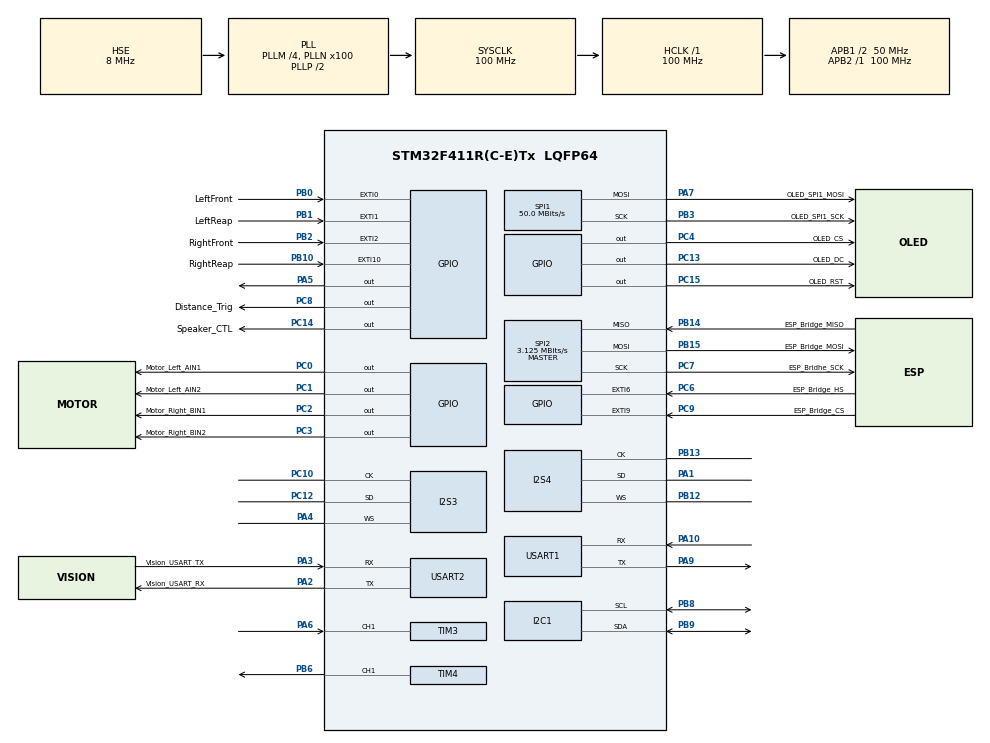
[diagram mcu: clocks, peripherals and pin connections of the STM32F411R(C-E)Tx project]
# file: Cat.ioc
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Dma.Request0=SPI2_RX
Dma.Request1=SPI4_TX
Dma.Request2=SPI3_RX
Dma.SPI2_RX.0.Direction=DMA_PERIPH_TO_MEMORY
Dma.SPI2_RX.0.FIFOMode=DMA_FIFOMODE_DISABLE
Dma.SPI2_RX.0.Instance=DMA1_Stream3
Dma.SPI2_RX.0.MemDataAlignment=DMA_MDATAALIGN_BYTE
Dma.SPI2_RX.0.MemInc=DMA_MINC_ENABLE
Dma.SPI2_RX.0.Mode=DMA_NORMAL
Dma.SPI2_RX.0.PeriphDataAlignment=DMA_PDATAALIGN_BYTE
Dma.SPI2_RX.0.PeriphInc=DMA_PINC_DISABLE
Dma.SPI2_RX.0.Priority=DMA_PRIORITY_LOW
Dma.SPI3_RX.2.Direction=DMA_PERIPH_TO_MEMORY
Dma.SPI3_RX.2.FIFOMode=DMA_FIFOMODE_DISABLE
Dma.SPI3_RX.2.Instance=DMA1_Stream0
Dma.SPI3_RX.2.MemDataAlignment=DMA_MDATAALIGN_BYTE
Dma.SPI3_RX.2.MemInc=DMA_MINC_ENABLE
Dma.SPI3_RX.2.Mode=DMA_NORMAL
Dma.SPI3_RX.2.PeriphDataAlignment=DMA_PDATAALIGN_BYTE
Dma.SPI3_RX.2.PeriphInc=DMA_PINC_DISABLE
Dma.SPI3_RX.2.Priority=DMA_PRIORITY_LOW
Dma.SPI4_TX.1.Direction=DMA_MEMORY_TO_PERIPH
Dma.SPI4_TX.1.FIFOMode=DMA_FIFOMODE_DISABLE
Dma.SPI4_TX.1.Instance=DMA2_Stream1
Dma.SPI4_TX.1.MemDataAlignment=DMA_MDATAALIGN_HALFWORD
Dma.SPI4_TX.1.MemInc=DMA_MINC_ENABLE
Dma.SPI4_TX.1.Mode=DMA_CIRCULAR
Dma.SPI4_TX.1.PeriphDataAlignment=DMA_PDATAALIGN_HALFWORD
Dma.SPI4_TX.1.PeriphInc=DMA_PINC_DISABLE
Dma.SPI4_TX.1.Priority=DMA_PRIORITY_LOW
I2S3.AudioFreq=I2S_AUDIOFREQ_16K
I2S3.DataFormat=I2S_DATAFORMAT_24B
I2S3.ErrorAudioFreq=-0.26 %
I2S3.FullDuplexMode=I2S_FULLDUPLEXMODE_DISABLE
I2S3.Instance=SPI$Index
I2S3.Mode=I2S_MODE_MASTER_RX
I2S3.RealAudioFreq=15.957 KHz
I2S3.VirtualMode=I2S_MODE_MASTER
I2S4.AudioFreq=AudioFreqCustomValue
I2S4.AudioFreqCustom=24000
I2S4.DataFormat=I2S_DATAFORMAT_16B
I2S4.ErrorAudioFreq=0.0 %
I2S4.FullDuplexMode=I2S_FULLDUPLEXMODE_DISABLE
I2S4.Instance=SPI$Index
I2S4.RealAudioFreq=24.0 KHz
I2S4.VirtualMode=I2S_MODE_MASTER
Mcu.Family=STM32F4
Mcu.Name=STM32F411R(C-E)Tx
Mcu.Package=LQFP64
NVIC.DMA1_Stream0_IRQn=true\:0\:0\:false\:false\:true\:false\:true\:true
NVIC.DMA1_Stream3_IRQn=true\:0\:0\:false\:false\:true\:false\:true\:true
NVIC.DMA2_Stream1_IRQn=true\:0\:0\:false\:false\:true\:false\:true\:true
NVIC.EXTI0_IRQn=true\:0\:0\:false\:false\:true\:true\:true\:true
NVIC.EXTI15_10_IRQn=true\:0\:0\:false\:false\:true\:true\:true\:true
NVIC.EXTI1_IRQn=true\:0\:0\:false\:false\:true\:true\:true\:true
NVIC.EXTI2_IRQn=true\:0\:0\:false\:false\:true\:true\:true\:true
NVIC.EXTI9_5_IRQn=true\:0\:0\:false\:false\:true\:true\:true\:true
NVIC.PriorityGroup=NVIC_PRIORITYGROUP_4
NVIC.TIM3_IRQn=true\:0\:0\:false\:false\:true\:true\:true\:true
PA1.Mode=Half_Duplex_Master
PA1.Signal=I2S4_SD
PA10.Mode=Asynchronous
PA10.Signal=USART1_RX
PA13.Mode=Serial_Wire
PA13.Signal=SYS_JTMS-SWDIO
PA14.Mode=Serial_Wire
PA14.Signal=SYS_JTCK-SWCLK
PA2.GPIO_Label=Vision_USART_RX
PA2.Mode=Asynchronous
PA2.Signal=USART2_TX
PA3.GPIO_Label=Vision_USART_TX
PA3.Mode=Asynchronous
PA3.Signal=USART2_RX
PA4.Mode=Half_Duplex_Master
PA4.Signal=I2S3_WS
PA5.Signal=GPIO_Output
PA6.Signal=S_TIM3_CH1
PA7.GPIO_Label=OLED_SPI1_MOSI
PA7.Mode=TX_Only_Simplex_Unidirect_Master
PA7.Signal=SPI1_MOSI
PA9.Mode=Asynchronous
PA9.Signal=USART1_TX
PB0.GPIO_Label=LeftFront
PB0.GPIO_ModeDefaultEXTI=GPIO_MODE_IT_FALLING
PB0.Signal=GPXTI0
PB1.GPIO_Label=LeftReap
PB1.GPIO_ModeDefaultEXTI=GPIO_MODE_IT_FALLING
PB1.Signal=GPXTI1
PB10.GPIO_Label=RightReap
PB10.GPIO_ModeDefaultEXTI=GPIO_MODE_IT_FALLING
PB10.Signal=GPXTI10
PB12.Mode=Half_Duplex_Master
PB12.Signal=I2S4_WS
PB13.GPIO_PuPd=GPIO_NOPULL
PB13.Mode=Half_Duplex_Master
PB13.Signal=I2S4_CK
PB14.GPIO_Label=ESP_Bridge_MISO
PB14.Mode=Full_Duplex_Master
PB14.Signal=SPI2_MISO
PB15.GPIO_Label=ESP_Bridge_MOSI
PB15.Mode=Full_Duplex_Master
PB15.Signal=SPI2_MOSI
PB2.GPIO_Label=RightFront
PB2.GPIO_ModeDefaultEXTI=GPIO_MODE_IT_FALLING
PB2.Signal=GPXTI2
PB3.GPIO_Label=OLED_SPI1_SCK
PB3.Mode=TX_Only_Simplex_Unidirect_Master
PB3.Signal=SPI1_SCK
PB6.Signal=S_TIM4_CH1
PB8.Mode=I2C
PB8.Signal=I2C1_SCL
PB9.Mode=I2C
PB9.Signal=I2C1_SDA
PC0.GPIO_Label=Motor_Left_AIN1
PC0.Signal=GPIO_Output
PC1.GPIO_Label=Motor_Left_AIN2
PC1.Signal=GPIO_Output
PC10.Mode=Half_Duplex_Master
PC10.Signal=I2S3_CK
PC12.Mode=Half_Duplex_Master
PC12.Signal=I2S3_SD
PC13-ANTI_TAMP.GPIO_Label=OLED_DC
PC13-ANTI_TAMP.Signal=GPIO_Output
PC14-OSC32_IN.GPIO_Label=Speaker_CTL
PC14-OSC32_IN.GPIO_ModeDefaultOutputPP=GPIO_MODE_OUTPUT_PP
PC14-OSC32_IN.GPIO_PuPd=GPIO_PULLDOWN
PC14-OSC32_IN.Signal=GPIO_Output
PC15-OSC32_OUT.GPIO_Label=OLED_RST
PC15-OSC32_OUT.Signal=GPIO_Output
PC2.GPIO_Label=Motor_Right_BIN1
PC2.Signal=GPIO_Output
PC3.GPIO_Label=Motor_Right_BIN2
PC3.Signal=GPIO_Output
PC4.GPIO_Label=OLED_CS
PC4.Signal=GPIO_Output
PC6.GPIO_Label=ESP_Bridge_HS
PC6.Signal=GPXTI6
PC7.GPIO_Label=ESP_Bridhe_SCK
PC7.Mode=Full_Duplex_Master
PC7.Signal=SPI2_SCK
PC8.GPIO_Label=Distance_Trig
PC8.Signal=GPIO_Output
PC9.GPIO_Label=ESP_Bridge_CS
PC9.Signal=GPXTI9
PH0\ -\ OSC_IN.Mode=HSE-External-Clock-Source
PH0\ -\ OSC_IN.Signal=RCC_OSC_IN
PH1\ -\ OSC_OUT.Mode=HSE-External-Clock-Source
PH1\ -\ OSC_OUT.Signal=RCC_OSC_OUT
ProjectManager.HeapSize=0x200
ProjectManager.StackSize=0x400
ProjectManager.TargetToolchain=CMake
RCC.48MHZClocksFreq_Value=50000000
RCC.AHBFreq_Value=100000000
RCC.APB1CLKDivider=RCC_HCLK_DIV2
RCC.APB1Freq_Value=50000000
RCC.APB1TimFreq_Value=100000000
RCC.APB2Freq_Value=100000000
RCC.APB2TimFreq_Value=100000000
RCC.CortexFreq_Value=100000000
RCC.EnbaleCSS=true
RCC.HCLKFreq_Value=100000000
RCC.HSE_VALUE=8000000
RCC.HSI_VALUE=16000000
RCC.LSE_VALUE=32768
RCC.PLLI2SM=4
RCC.PLLI2SR=4
RCC.PLLM=4
RCC.PLLN=100
RCC.PLLSourceVirtual=RCC_PLLSOURCE_HSE
RCC.SYSCLKFreq_VALUE=100000000
RCC.SYSCLKSource=RCC_SYSCLKSOURCE_PLLCLK
RCC.VCOOutputFreq_Value=200000000
SH.S_TIM3_CH1.0=TIM3_CH1,TriggerSource_TI1FP1
SH.S_TIM3_CH1.1=TIM3_CH1,Input_Capture1_from_TI1
SH.S_TIM4_CH1.0=TIM4_CH1,PWM Generation1 CH1
SPI1.CalculateBaudRate=50.0 MBits/s
SPI1.Direction=SPI_DIRECTION_2LINES
SPI1.Mode=SPI_MODE_MASTER
SPI1.VirtualType=VM_MASTER
SPI2.BaudRatePrescaler=SPI_BAUDRATEPRESCALER_16
SPI2.CalculateBaudRate=3.125 MBits/s
SPI2.Direction=SPI_DIRECTION_2LINES
SPI2.Mode=SPI_MODE_MASTER
SPI2.VirtualType=VM_MASTER
TIM3.Channel-Input_Capture1_from_TI1=TIM_CHANNEL_1
TIM3.Channel-Input_Capture2_from_TI1_63=TIM_CHANNEL_2
TIM3.ICFilter_CH1=0xF
TIM3.ICPolarity_CH2=TIM_INPUTCHANNELPOLARITY_FALLING
TIM3.Period=0xFFFF
TIM3.Prescaler=72 - 1
TIM4.Channel-PWM\ Generation1\ CH1=TIM_CHANNEL_1
TIM4.Period=839
TIM4.Prescaler=9
TIM4.Pulse-PWM\ Generation1\ CH1=250
USART1.VirtualMode=VM_ASYNC
USART2.VirtualMode=VM_ASYNC
VP_TIM3_VS_ClockSourceINT.Mode=Internal
VP_TIM3_VS_ControllerModeReset.Mode=Reset Mode
VP_TIM3_VS_indirect_ch1.Mode=Input_Capture2_from_TI1_63
VP_TIM4_VS_ClockSourceINT.Mode=Internal
board=custom

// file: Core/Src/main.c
/* USER CODE BEGIN Header */
/**
  ******************************************************************************
  * @file           : main.c
  * @brief          : Main program body
  ******************************************************************************
  * @attention
  *
  * Copyright (c) 2026 STMicroelectronics.
  * All rights reserved.
  *
  * This software is licensed under terms that can be found in the LICENSE file
  * in the root directory of this software component.
  * If no LICENSE file comes with this software, it is provided AS-IS.
  *
  ******************************************************************************
  */
/* USER CODE END Header */
#include "main.h"

/* USER CODE BEGIN Includes */
#include "TEXT_OLED.h"
#include "cJSON.h"
#include "emotion.h"
#include "animation.h"
#include "interaction.h"
#include <stdint.h>
#include "stm32f411xe.h"
#include "stm32f4xx.h"
#include "stm32f4xx_hal.h"
#include "stm32f4xx_hal_def.h"
#include "INMP441.h"
#include "stm32f4xx_hal_gpio.h"
#include "ESP_Bridge.h"
#include <stdint.h>
#include <sys/_intsup.h>
#include "MAX98357.h"
#include <string.h>
#include <math.h>

/* USER CODE END Includes */

/* USER CODE BEGIN PD */
#define TASK_PERIOD_OLED_MX 100         // OLED动画更新周期，单位毫秒
#define TASK_PERIOD_INFRARED_MX 20      // 红外传感器读取周期，单位毫秒
#define TASK_PERIOD_MOTOR_MX 20         // 电机控制周期，单位毫秒
#define TASK_PERIOD_SERIAL_POST_MX 50   // 串口数据接收处理周期，单位毫秒
//......extern short int statu;
/* USER CODE END PD */

I2C_HandleTypeDef hi2c1;

I2S_HandleTypeDef hi2s3;
I2S_HandleTypeDef hi2s4;
DMA_HandleTypeDef hdma_spi3_rx;
DMA_HandleTypeDef hdma_spi4_tx;

SPI_HandleTypeDef hspi1;
SPI_HandleTypeDef hspi2;
DMA_HandleTypeDef hdma_spi2_rx;

TIM_HandleTypeDef htim3;
TIM_HandleTypeDef htim4;

UART_HandleTypeDef huart1;
UART_HandleTypeDef huart2;

/* USER CODE BEGIN PV */
OledTypedef oled;
uint32_t last_infrared_time = 0;
uint32_t last_animation_time = 0;
uint32_t last_motor_time = 0;
uint32_t last_interaction_time = 0; // 加了这一行：交互模块时间基准
// extern static uint32_t I2s_TX_Buffer[MAX_SAMPLES];

/* USER CODE END PV */

void SystemClock_Config(void);
void PeriphCommonClock_Config(void);
static void MX_GPIO_Init(void);
static void MX_DMA_Init(void);
static void MX_TIM3_Init(void);
static void MX_SPI1_Init(void);
static void MX_USART2_UART_Init(void);
static void MX_SPI2_Init(void);
static void MX_USART1_UART_Init(void);
static void MX_TIM4_Init(void);
static void MX_I2C1_Init(void);
static void MX_I2S3_Init(void);
static void MX_I2S4_Init(void);

int main(void)
{

  /* MCU Configuration--------------------------------------------------------*/

  /* Reset of all peripherals, Initializes the Flash interface and the Systick. */
  HAL_Init();

  /* Configure the system clock */
  SystemClock_Config();

  /* Configure the peripherals common clocks */
  PeriphCommonClock_Config();

  /* Initialize all configured peripherals */
  MX_GPIO_Init();
  MX_DMA_Init();
  MX_TIM3_Init();
  MX_SPI1_Init();
  MX_USART2_UART_Init();
  MX_SPI2_Init();
  MX_USART1_UART_Init();
  MX_TIM4_Init();
  MX_I2C1_Init();
  MX_I2S3_Init();
  MX_I2S4_Init();
  /* USER CODE BEGIN 2 */

  // OLED 屏幕初始化配置
  // OledInitTypeDef oled_init_config = {
  //     .hspi = &hspi1,
  //     .CS_port = OLED_CS_GPIO_Port,
  //     .CS_pin = OLED_CS_Pin,
  //     .DC_port = OLED_DC_GPIO_Port,
  //     .DC_pin = OLED_DC_Pin,
  //     .RST_port = OLED_RST_GPIO_Port,
  //     .RST_pin = OLED_RST_Pin
  // };
  // oled_init(&oled, &oled_init_config);
  // oled_clear_buffer(&oled);
  // oled_refresh(&oled);

  // Interaction_Init(&huart1);

  OLED_Init();
  INMP441_Init();
  MAX98357_Init();     // 配置功放默认关断(Speaker_CTL 拉低)，麦克风运行时不放大耦合噪声
  ESP_Bridge_Init();   // ESP↔STM SPI 桥接：TX DMA + 握手双边沿 EXTI + CS 置高

  MAX98357_SelfTest();   // 功放链路自测：使能→播放 2s 1kHz 正弦→关断（验证后可注释）

  /* USER CODE END 2 */

  /* Infinite loop */
  /* USER CODE BEGIN WHILE */
  while (1) {
    // 故意填入一个极其明显的、非音频的固定值

    // cJSON_Delete(a);
    // OLED_ShowNum(1, 1, 0,1);
    // HAL_GPIO_WritePin(GPIOA, GPIO_PIN_5, GPIO_PIN_RESET);
    // HAL_Delay(100);
    // uint32_t rx_data = 0;
    // HAL_StatusTypeDef status = HAL_I2S_Receive(&hi2s3, (uint16_t*)&rx_data, 1, 100);

    // if (status == HAL_OK) {
    //     OLED_ShowString(1,1,"OK");
    // } else if (status == HAL_TIMEOUT) {
    //     OLED_ShowString(1,1,"TIMEOUT! I2S RX flag never set");
    // } else if (status == HAL_ERROR) {
    //     OLED_ShowString(1,1,"ERROR! Code=, State=");
    // } else if (status == HAL_BUSY) {
    //     OLED_ShowString(1,1,"BUSY! I2S is locked");
    // }
    // HAL_Delay(200);

    // uint32_t rx_data = 0;
    // // 尝试读取一个 I2S 数据帧
    // if (HAL_I2S_Receive(&hi2s3, (uint16_t*)&rx_data, 1, 100) == HAL_OK) {
    //     // 如果读到非零数据，说明 I2S 通信已建立
    //     OLED_ShowNum(1,1,rx_data,10);
    // } else {
    //     OLED_ShowString(1,1,"I2S RX Timeout/Error!\n");
    // }
    // HAL_Delay(100);

    //   // 1. 串口交互处理任务 (接收 Python 视觉动作并切换表情)
    //   if (now - last_interaction_time >= TASK_PERIOD_SERIAL_POST_MX) {
    //       last_interaction_time = now;
    //       Interaction_Update();
    //   }

    //   // 2. 红外检测任务
    //   if (now - last_infrared_time >= TASK_PERIOD_INFRARED_MX) {
    //       last_infrared_time = now;
    //       // INFRARED的对外接口
    //   }

    //   // 3. OLED 动画刷新任务
    //   if (now - last_animation_time >= TASK_PERIOD_OLED_MX) {
    //       last_animation_time = now;
    //       animation_update(&oled);
    //   }

    //   // 4. 电机任务
    //   if (now - last_motor_time >= TASK_PERIOD_MOTOR_MX) {
    //       last_motor_time = now;
    //       // 电机的对外接口
    //   }

    /* USER CODE END WHILE */

  }
}

void SystemClock_Config(void)
{
  RCC_OscInitTypeDef RCC_OscInitStruct = {0};
  RCC_ClkInitTypeDef RCC_ClkInitStruct = {0};

  /** Configure the main internal regulator output voltage
  */
  __HAL_RCC_PWR_CLK_ENABLE();
  __HAL_PWR_VOLTAGESCALING_CONFIG(PWR_REGULATOR_VOLTAGE_SCALE1);

  /** Initializes the RCC Oscillators according to the specified parameters
  * in the RCC_OscInitTypeDef structure.
  */
  RCC_OscInitStruct.OscillatorType = RCC_OSCILLATORTYPE_HSE;
  RCC_OscInitStruct.HSEState = RCC_HSE_BYPASS;
  RCC_OscInitStruct.PLL.PLLState = RCC_PLL_ON;
  RCC_OscInitStruct.PLL.PLLSource = RCC_PLLSOURCE_HSE;
  RCC_OscInitStruct.PLL.PLLM = 4;
  RCC_OscInitStruct.PLL.PLLN = 100;
  RCC_OscInitStruct.PLL.PLLP = RCC_PLLP_DIV2;
  RCC_OscInitStruct.PLL.PLLQ = 4;
  if (HAL_RCC_OscConfig(&RCC_OscInitStruct) != HAL_OK)
  {
    Error_Handler();
  }

  /** Initializes the CPU, AHB and APB buses clocks
  */
  RCC_ClkInitStruct.ClockType = RCC_CLOCKTYPE_HCLK|RCC_CLOCKTYPE_SYSCLK
                              |RCC_CLOCKTYPE_PCLK1|RCC_CLOCKTYPE_PCLK2;
  RCC_ClkInitStruct.SYSCLKSource = RCC_SYSCLKSOURCE_PLLCLK;
  RCC_ClkInitStruct.AHBCLKDivider = RCC_SYSCLK_DIV1;
  RCC_ClkInitStruct.APB1CLKDivider = RCC_HCLK_DIV2;
  RCC_ClkInitStruct.APB2CLKDivider = RCC_HCLK_DIV1;

  if (HAL_RCC_ClockConfig(&RCC_ClkInitStruct, FLASH_LATENCY_3) != HAL_OK)
  {
    Error_Handler();
  }

  /** Enables the Clock Security System
  */
  HAL_RCC_EnableCSS();
}

void PeriphCommonClock_Config(void)
{
  RCC_PeriphCLKInitTypeDef PeriphClkInitStruct = {0};

  /** Initializes the peripherals clock
  */
  PeriphClkInitStruct.PeriphClockSelection = RCC_PERIPHCLK_I2S;
  PeriphClkInitStruct.PLLI2S.PLLI2SN = 192;
  PeriphClkInitStruct.PLLI2S.PLLI2SM = 4;
  PeriphClkInitStruct.PLLI2S.PLLI2SR = 4;
  if (HAL_RCCEx_PeriphCLKConfig(&PeriphClkInitStruct) != HAL_OK)
  {
    Error_Handler();
  }
}

static void MX_I2C1_Init(void)
{

  hi2c1.Instance = I2C1;
  hi2c1.Init.ClockSpeed = 100000;
  hi2c1.Init.DutyCycle = I2C_DUTYCYCLE_2;
  hi2c1.Init.OwnAddress1 = 0;
  hi2c1.Init.AddressingMode = I2C_ADDRESSINGMODE_7BIT;
  hi2c1.Init.DualAddressMode = I2C_DUALADDRESS_DISABLE;
  hi2c1.Init.OwnAddress2 = 0;
  hi2c1.Init.GeneralCallMode = I2C_GENERALCALL_DISABLE;
  hi2c1.Init.NoStretchMode = I2C_NOSTRETCH_DISABLE;
  if (HAL_I2C_Init(&hi2c1) != HAL_OK)
  {
    Error_Handler();
  }

}

static void MX_I2S3_Init(void)
{

  hi2s3.Instance = SPI3;
  hi2s3.Init.Mode = I2S_MODE_MASTER_RX;
  hi2s3.Init.Standard = I2S_STANDARD_PHILIPS;
  hi2s3.Init.DataFormat = I2S_DATAFORMAT_24B;
  hi2s3.Init.MCLKOutput = I2S_MCLKOUTPUT_DISABLE;
  hi2s3.Init.AudioFreq = I2S_AUDIOFREQ_16K;
  hi2s3.Init.CPOL = I2S_CPOL_LOW;
  hi2s3.Init.ClockSource = I2S_CLOCK_PLL;
  hi2s3.Init.FullDuplexMode = I2S_FULLDUPLEXMODE_DISABLE;
  if (HAL_I2S_Init(&hi2s3) != HAL_OK)
  {
    Error_Handler();
  }

}

static void MX_I2S4_Init(void)
{

  hi2s4.Instance = SPI4;
  hi2s4.Init.Mode = I2S_MODE_MASTER_TX;
  hi2s4.Init.Standard = I2S_STANDARD_PHILIPS;
  hi2s4.Init.DataFormat = I2S_DATAFORMAT_16B;
  hi2s4.Init.MCLKOutput = I2S_MCLKOUTPUT_DISABLE;
  hi2s4.Init.AudioFreq = 24000;
  hi2s4.Init.CPOL = I2S_CPOL_LOW;
  hi2s4.Init.ClockSource = I2S_CLOCK_PLL;
  hi2s4.Init.FullDuplexMode = I2S_FULLDUPLEXMODE_DISABLE;
  if (HAL_I2S_Init(&hi2s4) != HAL_OK)
  {
    Error_Handler();
  }

}

static void MX_SPI1_Init(void)
{

  /* SPI1 parameter configuration*/
  hspi1.Instance = SPI1;
  hspi1.Init.Mode = SPI_MODE_MASTER;
  hspi1.Init.Direction = SPI_DIRECTION_2LINES;
  hspi1.Init.DataSize = SPI_DATASIZE_8BIT;
  hspi1.Init.CLKPolarity = SPI_POLARITY_LOW;
  hspi1.Init.CLKPhase = SPI_PHASE_1EDGE;
  hspi1.Init.NSS = SPI_NSS_SOFT;
  hspi1.Init.BaudRatePrescaler = SPI_BAUDRATEPRESCALER_2;
  hspi1.Init.FirstBit = SPI_FIRSTBIT_MSB;
  hspi1.Init.TIMode = SPI_TIMODE_DISABLE;
  hspi1.Init.CRCCalculation = SPI_CRCCALCULATION_DISABLE;
  hspi1.Init.CRCPolynomial = 10;
  if (HAL_SPI_Init(&hspi1) != HAL_OK)
  {
    Error_Handler();
  }

}

static void MX_SPI2_Init(void)
{

  /* SPI2 parameter configuration*/
  hspi2.Instance = SPI2;
  hspi2.Init.Mode = SPI_MODE_MASTER;
  hspi2.Init.Direction = SPI_DIRECTION_2LINES;
  hspi2.Init.DataSize = SPI_DATASIZE_8BIT;
  hspi2.Init.CLKPolarity = SPI_POLARITY_LOW;
  hspi2.Init.CLKPhase = SPI_PHASE_1EDGE;
  hspi2.Init.NSS = SPI_NSS_SOFT;
  hspi2.Init.BaudRatePrescaler = SPI_BAUDRATEPRESCALER_16;
  hspi2.Init.FirstBit = SPI_FIRSTBIT_MSB;
  hspi2.Init.TIMode = SPI_TIMODE_DISABLE;
  hspi2.Init.CRCCalculation = SPI_CRCCALCULATION_DISABLE;
  hspi2.Init.CRCPolynomial = 10;
  if (HAL_SPI_Init(&hspi2) != HAL_OK)
  {
    Error_Handler();
  }

}

static void MX_TIM3_Init(void)
{

  TIM_ClockConfigTypeDef sClockSourceConfig = {0};
  TIM_SlaveConfigTypeDef sSlaveConfig = {0};
  TIM_MasterConfigTypeDef sMasterConfig = {0};
  TIM_IC_InitTypeDef sConfigIC = {0};

  htim3.Instance = TIM3;
  htim3.Init.Prescaler = 72 - 1;
  htim3.Init.CounterMode = TIM_COUNTERMODE_UP;
  htim3.Init.Period = 0xFFFF;
  htim3.Init.ClockDivision = TIM_CLOCKDIVISION_DIV1;
  htim3.Init.AutoReloadPreload = TIM_AUTORELOAD_PRELOAD_DISABLE;
  if (HAL_TIM_Base_Init(&htim3) != HAL_OK)
  {
    Error_Handler();
  }
  sClockSourceConfig.ClockSource = TIM_CLOCKSOURCE_INTERNAL;
  if (HAL_TIM_ConfigClockSource(&htim3, &sClockSourceConfig) != HAL_OK)
  {
    Error_Handler();
  }
  if (HAL_TIM_IC_Init(&htim3) != HAL_OK)
  {
    Error_Handler();
  }
  sSlaveConfig.SlaveMode = TIM_SLAVEMODE_RESET;
  sSlaveConfig.InputTrigger = TIM_TS_TI1FP1;
  sSlaveConfig.TriggerPolarity = TIM_INPUTCHANNELPOLARITY_RISING;
  sSlaveConfig.TriggerFilter = 0;
  if (HAL_TIM_SlaveConfigSynchro(&htim3, &sSlaveConfig) != HAL_OK)
  {
    Error_Handler();
  }
  sMasterConfig.MasterOutputTrigger = TIM_TRGO_RESET;
  sMasterConfig.MasterSlaveMode = TIM_MASTERSLAVEMODE_DISABLE;
  if (HAL_TIMEx_MasterConfigSynchronization(&htim3, &sMasterConfig) != HAL_OK)
  {
    Error_Handler();
  }
  sConfigIC.ICPolarity = TIM_INPUTCHANNELPOLARITY_RISING;
  sConfigIC.ICSelection = TIM_ICSELECTION_DIRECTTI;
  sConfigIC.ICPrescaler = TIM_ICPSC_DIV1;
  sConfigIC.ICFilter = 0xF;
  if (HAL_TIM_IC_ConfigChannel(&htim3, &sConfigIC, TIM_CHANNEL_1) != HAL_OK)
  {
    Error_Handler();
  }
  sConfigIC.ICPolarity = TIM_INPUTCHANNELPOLARITY_FALLING;
  sConfigIC.ICSelection = TIM_ICSELECTION_INDIRECTTI;
  sConfigIC.ICFilter = 0;
  if (HAL_TIM_IC_ConfigChannel(&htim3, &sConfigIC, TIM_CHANNEL_2) != HAL_OK)
  {
    Error_Handler();
  }

}

static void MX_TIM4_Init(void)
{

  TIM_ClockConfigTypeDef sClockSourceConfig = {0};
  TIM_MasterConfigTypeDef sMasterConfig = {0};
  TIM_OC_InitTypeDef sConfigOC = {0};

  htim4.Instance = TIM4;
  htim4.Init.Prescaler = 9;
  htim4.Init.CounterMode = TIM_COUNTERMODE_UP;
  htim4.Init.Period = 839;
  htim4.Init.ClockDivision = TIM_CLOCKDIVISION_DIV1;
  htim4.Init.AutoReloadPreload = TIM_AUTORELOAD_PRELOAD_DISABLE;
  if (HAL_TIM_Base_Init(&htim4) != HAL_OK)
  {
    Error_Handler();
  }
  sClockSourceConfig.ClockSource = TIM_CLOCKSOURCE_INTERNAL;
  if (HAL_TIM_ConfigClockSource(&htim4, &sClockSourceConfig) != HAL_OK)
  {
    Error_Handler();
  }
  if (HAL_TIM_PWM_Init(&htim4) != HAL_OK)
  {
    Error_Handler();
  }
  sMasterConfig.MasterOutputTrigger = TIM_TRGO_RESET;
  sMasterConfig.MasterSlaveMode = TIM_MASTERSLAVEMODE_DISABLE;
  if (HAL_TIMEx_MasterConfigSynchronization(&htim4, &sMasterConfig) != HAL_OK)
  {
    Error_Handler();
  }
  sConfigOC.OCMode = TIM_OCMODE_PWM1;
  sConfigOC.Pulse = 250;
  sConfigOC.OCPolarity = TIM_OCPOLARITY_HIGH;
  sConfigOC.OCFastMode = TIM_OCFAST_DISABLE;
  if (HAL_TIM_PWM_ConfigChannel(&htim4, &sConfigOC, TIM_CHANNEL_1) != HAL_OK)
  {
    Error_Handler();
  }
  HAL_TIM_MspPostInit(&htim4);

}

static void MX_USART1_UART_Init(void)
{

  huart1.Instance = USART1;
  huart1.Init.BaudRate = 115200;
  huart1.Init.WordLength = UART_WORDLENGTH_8B;
  huart1.Init.StopBits = UART_STOPBITS_1;
  huart1.Init.Parity = UART_PARITY_NONE;
  huart1.Init.Mode = UART_MODE_TX_RX;
  huart1.Init.HwFlowCtl = UART_HWCONTROL_NONE;
  huart1.Init.OverSampling = UART_OVERSAMPLING_16;
  if (HAL_UART_Init(&huart1) != HAL_OK)
  {
    Error_Handler();
  }

}

static void MX_USART2_UART_Init(void)
{

  huart2.Instance = USART2;
  huart2.Init.BaudRate = 115200;
  huart2.Init.WordLength = UART_WORDLENGTH_8B;
  huart2.Init.StopBits = UART_STOPBITS_1;
  huart2.Init.Parity = UART_PARITY_NONE;
  huart2.Init.Mode = UART_MODE_TX_RX;
  huart2.Init.HwFlowCtl = UART_HWCONTROL_NONE;
  huart2.Init.OverSampling = UART_OVERSAMPLING_16;
  if (HAL_UART_Init(&huart2) != HAL_OK)
  {
    Error_Handler();
  }

}

static void MX_DMA_Init(void)
{

  /* DMA controller clock enable */
  __HAL_RCC_DMA1_CLK_ENABLE();
  __HAL_RCC_DMA2_CLK_ENABLE();

  /* DMA interrupt init */
  /* DMA1_Stream0_IRQn interrupt configuration */
  HAL_NVIC_SetPriority(DMA1_Stream0_IRQn, 0, 0);
  HAL_NVIC_EnableIRQ(DMA1_Stream0_IRQn);
  /* DMA1_Stream3_IRQn interrupt configuration */
  HAL_NVIC_SetPriority(DMA1_Stream3_IRQn, 0, 0);
  HAL_NVIC_EnableIRQ(DMA1_Stream3_IRQn);
  /* DMA2_Stream1_IRQn interrupt configuration */
  HAL_NVIC_SetPriority(DMA2_Stream1_IRQn, 0, 0);
  HAL_NVIC_EnableIRQ(DMA2_Stream1_IRQn);

}

static void MX_GPIO_Init(void)
{
  GPIO_InitTypeDef GPIO_InitStruct = {0};

  /* GPIO Ports Clock Enable */
  __HAL_RCC_GPIOC_CLK_ENABLE();
  __HAL_RCC_GPIOH_CLK_ENABLE();
  __HAL_RCC_GPIOA_CLK_ENABLE();
  __HAL_RCC_GPIOB_CLK_ENABLE();

  /*Configure GPIO pin Output Level */
  HAL_GPIO_WritePin(GPIOC, OLED_DC_Pin|Speaker_CTL_Pin|OLED_RST_Pin|Motor_Left_AIN1_Pin
                          |Motor_Left_AIN2_Pin|Motor_Right_BIN1_Pin|Motor_Right_BIN2_Pin|OLED_CS_Pin
                          |Distance_Trig_Pin, GPIO_PIN_RESET);

  /*Configure GPIO pin Output Level */
  HAL_GPIO_WritePin(GPIOA, GPIO_PIN_5, GPIO_PIN_RESET);

  /*Configure GPIO pins : OLED_DC_Pin OLED_RST_Pin Motor_Left_AIN1_Pin Motor_Left_AIN2_Pin
                           Motor_Right_BIN1_Pin Motor_Right_BIN2_Pin OLED_CS_Pin Distance_Trig_Pin */
  GPIO_InitStruct.Pin = OLED_DC_Pin|OLED_RST_Pin|Motor_Left_AIN1_Pin|Motor_Left_AIN2_Pin
                          |Motor_Right_BIN1_Pin|Motor_Right_BIN2_Pin|OLED_CS_Pin|Distance_Trig_Pin;
  GPIO_InitStruct.Mode = GPIO_MODE_OUTPUT_PP;
  GPIO_InitStruct.Pull = GPIO_NOPULL;
  GPIO_InitStruct.Speed = GPIO_SPEED_FREQ_LOW;
  HAL_GPIO_Init(GPIOC, &GPIO_InitStruct);

  /*Configure GPIO pin : Speaker_CTL_Pin */
  GPIO_InitStruct.Pin = Speaker_CTL_Pin;
  GPIO_InitStruct.Mode = GPIO_MODE_OUTPUT_PP;
  GPIO_InitStruct.Pull = GPIO_PULLDOWN;
  GPIO_InitStruct.Speed = GPIO_SPEED_FREQ_LOW;
  HAL_GPIO_Init(Speaker_CTL_GPIO_Port, &GPIO_InitStruct);

  /*Configure GPIO pin : PA5 */
  GPIO_InitStruct.Pin = GPIO_PIN_5;
  GPIO_InitStruct.Mode = GPIO_MODE_OUTPUT_PP;
  GPIO_InitStruct.Pull = GPIO_NOPULL;
  GPIO_InitStruct.Speed = GPIO_SPEED_FREQ_LOW;
  HAL_GPIO_Init(GPIOA, &GPIO_InitStruct);

  /*Configure GPIO pins : LeftFront_Pin LeftReap_Pin RightFront_Pin RightReap_Pin */
  GPIO_InitStruct.Pin = LeftFront_Pin|LeftReap_Pin|RightFront_Pin|RightReap_Pin;
  GPIO_InitStruct.Mode = GPIO_MODE_IT_FALLING;
  GPIO_InitStruct.Pull = GPIO_NOPULL;
  HAL_GPIO_Init(GPIOB, &GPIO_InitStruct);

  /*Configure GPIO pins : ESP_Bridge_HS_Pin ESP_Bridge_CS_Pin */
  GPIO_InitStruct.Pin = ESP_Bridge_HS_Pin|ESP_Bridge_CS_Pin;
  GPIO_InitStruct.Mode = GPIO_MODE_IT_RISING;
  GPIO_InitStruct.Pull = GPIO_NOPULL;
  HAL_GPIO_Init(GPIOC, &GPIO_InitStruct);

  /* EXTI interrupt init*/
  HAL_NVIC_SetPriority(EXTI0_IRQn, 0, 0);
  HAL_NVIC_EnableIRQ(EXTI0_IRQn);

  HAL_NVIC_SetPriority(EXTI1_IRQn, 0, 0);
  HAL_NVIC_EnableIRQ(EXTI1_IRQn);

  HAL_NVIC_SetPriority(EXTI2_IRQn, 0, 0);
  HAL_NVIC_EnableIRQ(EXTI2_IRQn);

  HAL_NVIC_SetPriority(EXTI9_5_IRQn, 0, 0);
  HAL_NVIC_EnableIRQ(EXTI9_5_IRQn);

  HAL_NVIC_SetPriority(EXTI15_10_IRQn, 0, 0);
  HAL_NVIC_EnableIRQ(EXTI15_10_IRQn);

}

void Error_Handler(void)
{
  __disable_irq();
  while (1)
  {
  }
}
